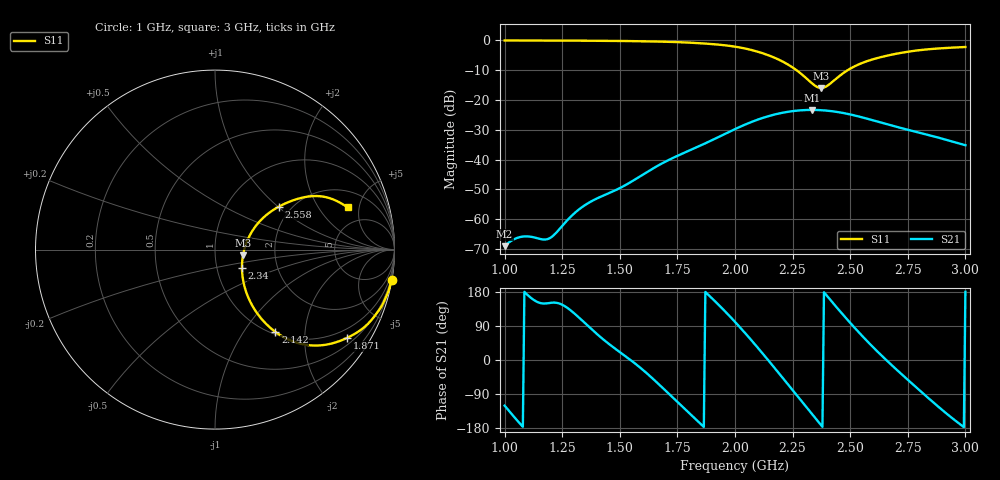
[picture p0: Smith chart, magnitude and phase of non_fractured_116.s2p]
! TOUCHSTONE file generated by CST MICROWAVE STUDIO
! Date and time: Sat Mar  8 13:54:46 2025
! Project name: non_fractured.cst
! Parameters = {B=2.5; D=160; F=15; Feed=2.85625; L=100; M=10; R=0.384908; S=1; Theta=270; length=57.125; wave=114.25}
! Header version: 2024
! Port assignment regex: !\s*Touchstone port\s*([0-9]+)\s*=\s*(CST MWS port|CST DES external port|CST DES block port)\s*(.+)\s* \(\"(.*)\"\)(\s*mode\s*([0-9]+))?.*
! Touchstone port assignment:
! Touchstone port 1 = CST MWS port 1 ("")
! Touchstone port 2 = CST MWS port 2 ("")
# GHz S DB R 50
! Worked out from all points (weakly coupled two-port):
!   304 points, 1 GHz to 3 GHz, reference 50 ohm
!   highest |S21| = -23.33 dB at 2.333 GHz (marker M1); lowest = -69.1 dB at 1 GHz (marker M2)
!   lowest |S11| = -16.0 dB at 2.373 GHz (marker M3), VSWR 1.38, Z = 68.3 - j4.39 ohm
!   |S11| at or under -10 dB: 2.267 GHz to 2.489 GHz (221.8 MHz wide, 9.33 % of centre)
!   S12 and S22 are empty: the file has one direction only
!   S11 on the Smith chart (normalised r, x): 1 GHz: 0, -12; 1.871 GHz: 0.70, -3.15; 2.142 GHz: 1.04, -1.41; 2.34 GHz: 1.32, -0.28; 2.558 GHz: 1.72, +1.01; 3 GHz: 3.23, +3.81
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1  -0.02 -9.8  -69.06 -120.5  -200.00 0.0  -200.00 0.0
1.033  -0.02 -10.2  -67.06 -144.4  -200.00 0.0  -200.00 0.0
1.07261  -0.03 -10.8  -65.91 -171.8  -200.00 0.0  -200.00 0.0
1.19142  -0.04 -12.5  -66.54 150.1  -200.00 0.0  -200.00 0.0
1.21782  -0.05 -13.0  -65.04 151.4  -200.00 0.0  -200.00 0.0
1.33663  -0.09 -15.2  -55.93 104.3  -200.00 0.0  -200.00 0.0
1.52145  -0.20 -19.6  -48.70 11.4  -200.00 0.0  -200.00 0.0
1.66667  -0.39 -24.1  -41.98 -62.5  -200.00 0.0  -200.00 0.0
1.87129  -1.07 -33.8  -34.54 179.6  -200.00 0.0  -200.00 0.0
2.0033  -2.14 -43.1  -29.65 98.5  -200.00 0.0  -200.00 0.0
2.07591  -3.30 -49.0  -27.24 48.8  -200.00 0.0  -200.00 0.0
2.14191  -4.90 -53.7  -25.50 1.1  -200.00 0.0  -200.00 0.0
2.24092  -8.61 -56.3  -23.83 -72.7  -200.00 0.0  -200.00 0.0
2.33333  -14.35 -38.2  -23.33 -142.1  -200.00 0.0  -200.00 0.0
2.33993  -14.77 -34.6  -23.33 -147.0  -200.00 0.0  -200.00 0.0
2.37294  -15.97 -11.3  -23.42 -171.5  -200.00 0.0  -200.00 0.0
2.39934  -15.30 8.1  -23.58 169.2  -200.00 0.0  -200.00 0.0
2.46535  -11.24 31.1  -24.30 121.9  -200.00 0.0  -200.00 0.0
2.55776  -7.39 34.0  -25.95 59.8  -200.00 0.0  -200.00 0.0
2.66997  -4.95 30.8  -28.37 -7.8  -200.00 0.0  -200.00 0.0
2.83498  -3.00 23.6  -31.63 -98.2  -200.00 0.0  -200.00 0.0
3  -2.21 17.6  -35.18 179.9  -200.00 0.0  -200.00 0.0
